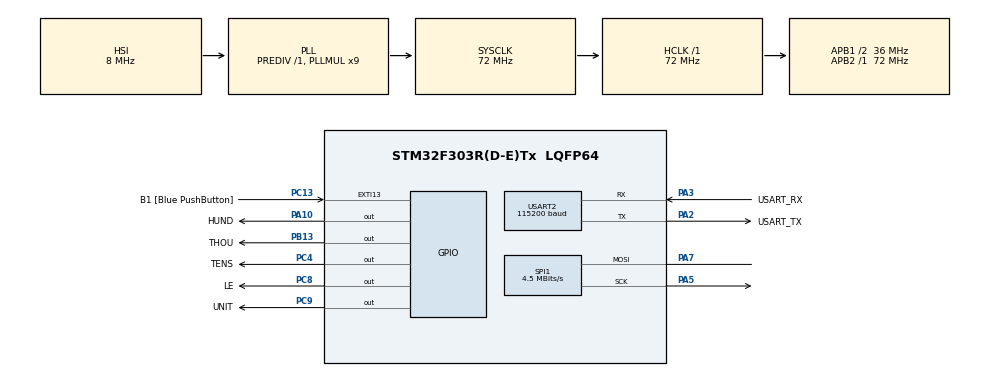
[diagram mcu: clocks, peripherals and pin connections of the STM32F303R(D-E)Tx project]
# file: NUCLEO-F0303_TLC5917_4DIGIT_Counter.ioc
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Mcu.Family=STM32F3
Mcu.Name=STM32F303R(D-E)Tx
Mcu.Package=LQFP64
NVIC.EXTI15_10_IRQn=true\:0\:0\:false\:false\:true\:true\:true\:true
NVIC.PriorityGroup=NVIC_PRIORITYGROUP_0
NVIC.TIM2_IRQn=true\:0\:0\:false\:false\:true\:true\:true\:true
NVIC.TIM3_IRQn=true\:0\:0\:false\:false\:true\:true\:true\:true
PA10.GPIO_Label=HUND
PA10.Signal=GPIO_Output
PA13.GPIO_Label=TMS
PA13.Mode=Serial_Wire
PA13.Signal=SYS_JTMS-SWDIO
PA14.GPIO_Label=TCK
PA14.Mode=Serial_Wire
PA14.Signal=SYS_JTCK-SWCLK
PA2.GPIO_Label=USART_TX
PA2.GPIO_Mode=GPIO_MODE_AF_PP
PA2.GPIO_PuPd=GPIO_NOPULL
PA2.GPIO_Speed=GPIO_SPEED_FREQ_LOW
PA2.Mode=Asynchronous
PA2.Signal=USART2_TX
PA3.GPIO_Label=USART_RX
PA3.GPIO_Mode=GPIO_MODE_AF_PP
PA3.GPIO_PuPd=GPIO_NOPULL
PA3.GPIO_Speed=GPIO_SPEED_FREQ_LOW
PA3.Mode=Asynchronous
PA3.Signal=USART2_RX
PA5.Mode=Simplex_Bidirectional_Master
PA5.Signal=SPI1_SCK
PA7.Mode=Simplex_Bidirectional_Master
PA7.Signal=SPI1_MOSI
PB13.GPIO_Label=THOU
PB13.Signal=GPIO_Output
PB3.GPIO_Label=SWO
PB3.Signal=SYS_JTDO-TRACESWO
PC13.GPIO_Label=B1 [Blue PushButton]
PC13.GPIO_ModeDefaultEXTI=GPIO_MODE_IT_FALLING
PC13.Signal=GPXTI13
PC14-OSC32_IN.Mode=LSE-External-Oscillator
PC14-OSC32_IN.Signal=RCC_OSC32_IN
PC15-OSC32_OUT.Mode=LSE-External-Oscillator
PC15-OSC32_OUT.Signal=RCC_OSC32_OUT
PC4.GPIO_Label=TENS
PC4.Signal=GPIO_Output
PC8.GPIO_Label=LE
PC8.Signal=GPIO_Output
PC9.GPIO_Label=UNIT
PC9.Signal=GPIO_Output
PF0-OSC_IN.Mode=HSE-External-Clock-Source
PF0-OSC_IN.Signal=RCC_OSC_IN
PF1-OSC_OUT.Signal=RCC_OSC_OUT
ProjectManager.HeapSize=0x200
ProjectManager.StackSize=0x400
ProjectManager.TargetToolchain=CMake
RCC.AHBFreq_Value=72000000
RCC.APB1CLKDivider=RCC_HCLK_DIV2
RCC.APB1Freq_Value=36000000
RCC.APB1TimFreq_Value=72000000
RCC.APB2Freq_Value=72000000
RCC.APB2TimFreq_Value=72000000
RCC.CortexFreq_Value=72000000
RCC.HCLKFreq_Value=72000000
RCC.HSE_VALUE=8000000
RCC.HSI_VALUE=8000000
RCC.PLLM=8
RCC.PLLMUL=RCC_PLL_MUL9
RCC.PLLN=336
RCC.PLLP=RCC_PLLP_DIV4
RCC.PLLQ=7
RCC.RCC_PLLsource_Clock_Source_FROM_HSE=RCC_HSE_PREDIV_DIV2
RCC.SYSCLKFreq_VALUE=72000000
RCC.SYSCLKSourceVirtual=RCC_SYSCLKSOURCE_PLLCLK
RCC.USBFreq_Value=72000000
SPI1.BaudRatePrescaler=SPI_BAUDRATEPRESCALER_16
SPI1.CalculateBaudRate=4.5 MBits/s
SPI1.DataSize=SPI_DATASIZE_8BIT
SPI1.Direction=SPI_DIRECTION_1LINE
SPI1.Mode=SPI_MODE_MASTER
SPI1.VirtualType=VM_MASTER
TIM2.Period=72000-1
TIM2.Prescaler=1000-1
TIM3.Period=360-1
TIM3.Prescaler=1000-1
USART2.BaudRate=115200
USART2.VirtualMode-Asynchronous=VM_ASYNC
VP_TIM2_VS_ClockSourceINT.Mode=Internal
VP_TIM3_VS_ClockSourceINT.Mode=Internal
board=NUCLEO-F303RE

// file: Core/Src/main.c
/* USER CODE BEGIN Header */
/**
  ******************************************************************************
  * @file           : main.c
  * @brief          : Main program body
  ******************************************************************************
  * @attention
  *
  * Copyright (c) 2026 STMicroelectronics.
  * All rights reserved.
  *
  * This software is licensed under terms that can be found in the LICENSE file
  * in the root directory of this software component.
  * If no LICENSE file comes with this software, it is provided AS-IS.
  *
  ******************************************************************************
  */
/* USER CODE END Header */
#include "main.h"

/* USER CODE BEGIN Includes */
#include "TLC5917.h"
#include "stm32f3xx_hal.h"
#include "stm32f3xx_hal_gpio.h"
/* USER CODE END Includes */

/* USER CODE BEGIN PD */
#define ARRAY_SIZE 10
/* USER CODE END PD */

SPI_HandleTypeDef hspi1;

TIM_HandleTypeDef htim2;
TIM_HandleTypeDef htim3;

UART_HandleTypeDef huart2;

/* USER CODE BEGIN PV */
TLC5917_HandleTypeDef tlc5917;

static volatile uint8_t thousand = 0x3F; // Inicializa mostrando '0'
static volatile uint8_t hundred  = 0x3F;
static volatile uint8_t tens     = 0x3F;
static volatile uint8_t unit     = 0x3F;

const uint8_t digitsArray[ARRAY_SIZE] = {0x3F, 0x06, 0x5B, 0x4F, 0x66, 0x6D, 0x7D, 0x07, 0x7F, 0x6F};

/* Variables de control del contador y de multiplexado */
static volatile uint16_t counter = 0;
static volatile uint8_t digitPin = 0;

static volatile uint8_t pushButtonSequence = 0;

/* USER CODE END PV */

void SystemClock_Config(void);
static void MX_GPIO_Init(void);
static void MX_SPI1_Init(void);
static void MX_USART2_UART_Init(void);
static void MX_TIM2_Init(void);
static void MX_TIM3_Init(void);
/* USER CODE BEGIN PFP */
void Display_Off(void);
/* USER CODE END PFP */

int main(void)
{

  /* MCU Configuration--------------------------------------------------------*/

  /* Reset of all peripherals, Initializes the Flash interface and the Systick. */
  HAL_Init();

  /* Configure the system clock */
  SystemClock_Config();

  /* Initialize all configured peripherals */
  MX_GPIO_Init();
  MX_SPI1_Init();
  MX_USART2_UART_Init();
  MX_TIM2_Init();
  MX_TIM3_Init();
  /* USER CODE BEGIN 2 */
  Display_Off();
  TLC5917_Init(&tlc5917, &hspi1, LE_GPIO_Port, LE_Pin);

  HAL_TIM_Base_Start_IT(&htim2);
  HAL_TIM_Base_Start_IT(&htim3);
  /* USER CODE END 2 */

  /* Infinite loop */
  while (1)
  {

  }
}

void SystemClock_Config(void)
{
  RCC_OscInitTypeDef RCC_OscInitStruct = {0};
  RCC_ClkInitTypeDef RCC_ClkInitStruct = {0};
  RCC_PeriphCLKInitTypeDef PeriphClkInit = {0};

  /** Initializes the RCC Oscillators according to the specified parameters
  * in the RCC_OscInitTypeDef structure.
  */
  RCC_OscInitStruct.OscillatorType = RCC_OSCILLATORTYPE_HSI;
  RCC_OscInitStruct.HSIState = RCC_HSI_ON;
  RCC_OscInitStruct.HSICalibrationValue = RCC_HSICALIBRATION_DEFAULT;
  RCC_OscInitStruct.PLL.PLLState = RCC_PLL_ON;
  RCC_OscInitStruct.PLL.PLLSource = RCC_PLLSOURCE_HSI;
  RCC_OscInitStruct.PLL.PLLMUL = RCC_PLL_MUL9;
  RCC_OscInitStruct.PLL.PREDIV = RCC_PREDIV_DIV1;
  if (HAL_RCC_OscConfig(&RCC_OscInitStruct) != HAL_OK)
  {
    Error_Handler();
  }

  /** Initializes the CPU, AHB and APB buses clocks
  */
  RCC_ClkInitStruct.ClockType = RCC_CLOCKTYPE_HCLK|RCC_CLOCKTYPE_SYSCLK
                              |RCC_CLOCKTYPE_PCLK1|RCC_CLOCKTYPE_PCLK2;
  RCC_ClkInitStruct.SYSCLKSource = RCC_SYSCLKSOURCE_PLLCLK;
  RCC_ClkInitStruct.AHBCLKDivider = RCC_SYSCLK_DIV1;
  RCC_ClkInitStruct.APB1CLKDivider = RCC_HCLK_DIV2;
  RCC_ClkInitStruct.APB2CLKDivider = RCC_HCLK_DIV1;

  if (HAL_RCC_ClockConfig(&RCC_ClkInitStruct, FLASH_LATENCY_2) != HAL_OK)
  {
    Error_Handler();
  }
  PeriphClkInit.PeriphClockSelection = RCC_PERIPHCLK_USART2|RCC_PERIPHCLK_TIM2
                              |RCC_PERIPHCLK_TIM34;
  PeriphClkInit.Usart2ClockSelection = RCC_USART2CLKSOURCE_PCLK1;
  PeriphClkInit.Tim2ClockSelection = RCC_TIM2CLK_HCLK;
  PeriphClkInit.Tim34ClockSelection = RCC_TIM34CLK_HCLK;
  if (HAL_RCCEx_PeriphCLKConfig(&PeriphClkInit) != HAL_OK)
  {
    Error_Handler();
  }
}

static void MX_SPI1_Init(void)
{

  /* SPI1 parameter configuration*/
  hspi1.Instance = SPI1;
  hspi1.Init.Mode = SPI_MODE_MASTER;
  hspi1.Init.Direction = SPI_DIRECTION_1LINE;
  hspi1.Init.DataSize = SPI_DATASIZE_8BIT;
  hspi1.Init.CLKPolarity = SPI_POLARITY_LOW;
  hspi1.Init.CLKPhase = SPI_PHASE_1EDGE;
  hspi1.Init.NSS = SPI_NSS_SOFT;
  hspi1.Init.BaudRatePrescaler = SPI_BAUDRATEPRESCALER_16;
  hspi1.Init.FirstBit = SPI_FIRSTBIT_MSB;
  hspi1.Init.TIMode = SPI_TIMODE_DISABLE;
  hspi1.Init.CRCCalculation = SPI_CRCCALCULATION_DISABLE;
  hspi1.Init.CRCPolynomial = 7;
  hspi1.Init.CRCLength = SPI_CRC_LENGTH_DATASIZE;
  hspi1.Init.NSSPMode = SPI_NSS_PULSE_ENABLE;
  if (HAL_SPI_Init(&hspi1) != HAL_OK)
  {
    Error_Handler();
  }

}

static void MX_TIM2_Init(void)
{

  TIM_ClockConfigTypeDef sClockSourceConfig = {0};
  TIM_MasterConfigTypeDef sMasterConfig = {0};

  htim2.Instance = TIM2;
  htim2.Init.Prescaler = 1000-1;
  htim2.Init.CounterMode = TIM_COUNTERMODE_UP;
  htim2.Init.Period = 72000-1;
  htim2.Init.ClockDivision = TIM_CLOCKDIVISION_DIV1;
  htim2.Init.AutoReloadPreload = TIM_AUTORELOAD_PRELOAD_DISABLE;
  if (HAL_TIM_Base_Init(&htim2) != HAL_OK)
  {
    Error_Handler();
  }
  sClockSourceConfig.ClockSource = TIM_CLOCKSOURCE_INTERNAL;
  if (HAL_TIM_ConfigClockSource(&htim2, &sClockSourceConfig) != HAL_OK)
  {
    Error_Handler();
  }
  sMasterConfig.MasterOutputTrigger = TIM_TRGO_RESET;
  sMasterConfig.MasterSlaveMode = TIM_MASTERSLAVEMODE_DISABLE;
  if (HAL_TIMEx_MasterConfigSynchronization(&htim2, &sMasterConfig) != HAL_OK)
  {
    Error_Handler();
  }

}

static void MX_TIM3_Init(void)
{

  TIM_ClockConfigTypeDef sClockSourceConfig = {0};
  TIM_MasterConfigTypeDef sMasterConfig = {0};

  htim3.Instance = TIM3;
  htim3.Init.Prescaler = 1000-1;
  htim3.Init.CounterMode = TIM_COUNTERMODE_UP;
  htim3.Init.Period = 360-1;
  htim3.Init.ClockDivision = TIM_CLOCKDIVISION_DIV1;
  htim3.Init.AutoReloadPreload = TIM_AUTORELOAD_PRELOAD_DISABLE;
  if (HAL_TIM_Base_Init(&htim3) != HAL_OK)
  {
    Error_Handler();
  }
  sClockSourceConfig.ClockSource = TIM_CLOCKSOURCE_INTERNAL;
  if (HAL_TIM_ConfigClockSource(&htim3, &sClockSourceConfig) != HAL_OK)
  {
    Error_Handler();
  }
  sMasterConfig.MasterOutputTrigger = TIM_TRGO_RESET;
  sMasterConfig.MasterSlaveMode = TIM_MASTERSLAVEMODE_DISABLE;
  if (HAL_TIMEx_MasterConfigSynchronization(&htim3, &sMasterConfig) != HAL_OK)
  {
    Error_Handler();
  }

}

static void MX_USART2_UART_Init(void)
{

  huart2.Instance = USART2;
  huart2.Init.BaudRate = 115200;
  huart2.Init.WordLength = UART_WORDLENGTH_8B;
  huart2.Init.StopBits = UART_STOPBITS_1;
  huart2.Init.Parity = UART_PARITY_NONE;
  huart2.Init.Mode = UART_MODE_TX_RX;
  huart2.Init.HwFlowCtl = UART_HWCONTROL_NONE;
  huart2.Init.OverSampling = UART_OVERSAMPLING_16;
  huart2.Init.OneBitSampling = UART_ONE_BIT_SAMPLE_DISABLE;
  huart2.AdvancedInit.AdvFeatureInit = UART_ADVFEATURE_NO_INIT;
  if (HAL_UART_Init(&huart2) != HAL_OK)
  {
    Error_Handler();
  }

}

static void MX_GPIO_Init(void)
{
  GPIO_InitTypeDef GPIO_InitStruct = {0};

  /* GPIO Ports Clock Enable */
  __HAL_RCC_GPIOC_CLK_ENABLE();
  __HAL_RCC_GPIOF_CLK_ENABLE();
  __HAL_RCC_GPIOA_CLK_ENABLE();
  __HAL_RCC_GPIOB_CLK_ENABLE();

  /*Configure GPIO pin Output Level */
  HAL_GPIO_WritePin(GPIOC, TENS_Pin|LE_Pin|UNIT_Pin, GPIO_PIN_RESET);

  /*Configure GPIO pin Output Level */
  HAL_GPIO_WritePin(THOU_GPIO_Port, THOU_Pin, GPIO_PIN_RESET);

  /*Configure GPIO pin Output Level */
  HAL_GPIO_WritePin(HUND_GPIO_Port, HUND_Pin, GPIO_PIN_RESET);

  /*Configure GPIO pin : B1_Pin */
  GPIO_InitStruct.Pin = B1_Pin;
  GPIO_InitStruct.Mode = GPIO_MODE_IT_FALLING;
  GPIO_InitStruct.Pull = GPIO_NOPULL;
  HAL_GPIO_Init(B1_GPIO_Port, &GPIO_InitStruct);

  /*Configure GPIO pins : TENS_Pin LE_Pin UNIT_Pin */
  GPIO_InitStruct.Pin = TENS_Pin|LE_Pin|UNIT_Pin;
  GPIO_InitStruct.Mode = GPIO_MODE_OUTPUT_PP;
  GPIO_InitStruct.Pull = GPIO_NOPULL;
  GPIO_InitStruct.Speed = GPIO_SPEED_FREQ_LOW;
  HAL_GPIO_Init(GPIOC, &GPIO_InitStruct);

  /*Configure GPIO pin : THOU_Pin */
  GPIO_InitStruct.Pin = THOU_Pin;
  GPIO_InitStruct.Mode = GPIO_MODE_OUTPUT_PP;
  GPIO_InitStruct.Pull = GPIO_NOPULL;
  GPIO_InitStruct.Speed = GPIO_SPEED_FREQ_LOW;
  HAL_GPIO_Init(THOU_GPIO_Port, &GPIO_InitStruct);

  /*Configure GPIO pin : HUND_Pin */
  GPIO_InitStruct.Pin = HUND_Pin;
  GPIO_InitStruct.Mode = GPIO_MODE_OUTPUT_PP;
  GPIO_InitStruct.Pull = GPIO_NOPULL;
  GPIO_InitStruct.Speed = GPIO_SPEED_FREQ_LOW;
  HAL_GPIO_Init(HUND_GPIO_Port, &GPIO_InitStruct);

  /* EXTI interrupt init*/
  HAL_NVIC_SetPriority(EXTI15_10_IRQn, 0, 0);
  HAL_NVIC_EnableIRQ(EXTI15_10_IRQn);

}

/* USER CODE BEGIN 4 */
void Display_Off(void)
{
    HAL_GPIO_WritePin(UNIT_GPIO_Port, UNIT_Pin, GPIO_PIN_SET);
    HAL_GPIO_WritePin(TENS_GPIO_Port, TENS_Pin, GPIO_PIN_SET);
    HAL_GPIO_WritePin(HUND_GPIO_Port, HUND_Pin, GPIO_PIN_SET);
    HAL_GPIO_WritePin(THOU_GPIO_Port, THOU_Pin, GPIO_PIN_SET);
}

void HAL_GPIO_EXTI_Callback(uint16_t GPIO_Pin)
{
    if (GPIO_Pin == B1_Pin)
    {
        static uint32_t lastInterruptTick = 0;
        uint32_t currentInterruptTick = HAL_GetTick();

        /* Debounce por software: evita falsos disparos por ruido eléctrico (250 ms) */
        if ((currentInterruptTick - lastInterruptTick) > 250U)
        {
            pushButtonSequence++;
            if (pushButtonSequence > 4)
            {
                pushButtonSequence = 0; // Wrap back to 1 Hz
            }

            uint32_t newPeriod = 72000 - 1; // Estado 0: 1 Hz (1.0 s)
            if (pushButtonSequence == 1)
            {
                newPeriod = 14400 - 1; // Estado 1: 5 Hz (0.2 s)
            }
            else if (pushButtonSequence == 2)
            {
                newPeriod = 7200 - 1;  // Estado 2: 10 Hz (0.1 s)
            }
            else if (pushButtonSequence == 3)
            {
                newPeriod = 2400 - 1; // Estado 3: 30 Hz (33 ms)
            }
            else if (pushButtonSequence == 4)
            {
                newPeriod = 1200 - 1; // Estado 4: 60 Hz (16 ms)
            }

            /* Cambia el período (Auto-Reload) de TIM2 de forma dinámica */
            __HAL_TIM_SET_AUTORELOAD(&htim2, newPeriod);

            /* Resetea el contador para que la nueva velocidad inicie inmediatamente */
            __HAL_TIM_SET_COUNTER(&htim2, 0);
        }
        lastInterruptTick = currentInterruptTick;
    }
}

void HAL_TIM_PeriodElapsedCallback(TIM_HandleTypeDef *htim)
{
  /* --- Timer 2: Actualización de datos del contador (Cada 200 ms) --- */
  if (htim->Instance == TIM2)
  {
      counter++;
      if (counter >= 10000) {
          counter = 0;
      }

      // Descomposición atómica del contador
      uint8_t thousandDigit = counter / 1000;
      uint8_t hundredDigit  = (counter / 100) % 10;
      uint8_t tensDigit     = (counter / 10) % 10;
      uint8_t unitDigit     = counter % 10;

      // Actualizar búferes globales de segmentos
      thousand = digitsArray[thousandDigit];
      hundred  = digitsArray[hundredDigit];
      tens     = digitsArray[tensDigit];
      unit     = digitsArray[unitDigit];
  }

  /* --- Timer 3: Multiplexado periódico del display (Cada 5 ms / 200 Hz) --- */
  if (htim->Instance == TIM3)
  {
      // 1. BLANKING: Apaga todos los transistores PNP (Pines en HIGH) para prevenir Ghosting
      Display_Off();

      // 2. Conmutar y encender el transistor activo (Pin en LOW / RESET)
      switch (digitPin)
      {
          case 0:
              TLC5917_WriteRegister(&tlc5917, unit);
              HAL_GPIO_WritePin(UNIT_GPIO_Port, UNIT_Pin, GPIO_PIN_RESET); // Activa el primer dígito (Unidades)
              break;
          case 1:
              TLC5917_WriteRegister(&tlc5917, tens);
              HAL_GPIO_WritePin(TENS_GPIO_Port, TENS_Pin, GPIO_PIN_RESET); // Activa el segundo dígito (Decenas)
              break;
          case 2:
              TLC5917_WriteRegister(&tlc5917, hundred);
              HAL_GPIO_WritePin(HUND_GPIO_Port, HUND_Pin, GPIO_PIN_RESET); // Activa el tercer dígito (Centenas)
              break;
          case 3:
              TLC5917_WriteRegister(&tlc5917, thousand);
              HAL_GPIO_WritePin(THOU_GPIO_Port, THOU_Pin, GPIO_PIN_RESET); // Activa el cuarto dígito (Millares)
              break;
      }

      // Siguiente dígito del barrido
      digitPin++;
      if (digitPin >= 4) {
          digitPin = 0;
      }
  }
}
/* USER CODE END 4 */

void Error_Handler(void)
{
  __disable_irq();
  while (1)
  {
  }
}
